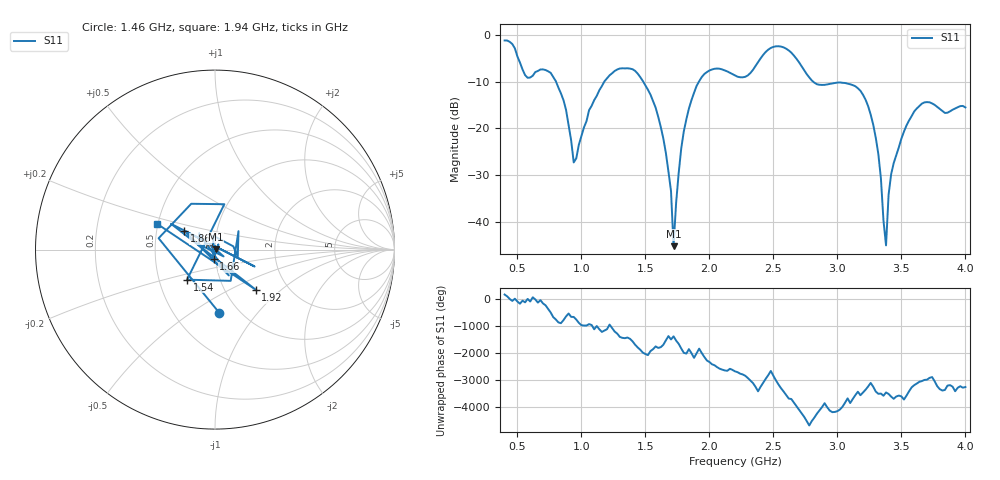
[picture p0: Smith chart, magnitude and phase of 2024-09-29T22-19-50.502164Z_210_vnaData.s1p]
!Created with skrf (http://scikit-rf.org).
# Hz S RI R 50.0
!freq ReS11 ImS11
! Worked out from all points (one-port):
!   181 points, 400 MHz to 4 GHz, reference 50 ohm
!   lowest |S11| = -45.2 dB at 1.72 GHz (marker M1), VSWR 1.01, Z = 50.4 + j0.414 ohm
!   |S11| at or under -10 dB: 801.4 MHz to 1.179 GHz (377.7 MHz wide, 38.1 % of centre); 1.482 GHz to 1.919 GHz (436 MHz wide, 25.6 % of centre); 2.81 GHz to end of sweep
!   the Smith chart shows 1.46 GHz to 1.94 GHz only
!   S11 on the Smith chart (normalised r, x): 1.46 GHz: 0.81, -0.65; 1.54 GHz: 0.69, -0.25; 1.66 GHz: 0.98, -0.11; 1.86 GHz: 0.70, +0.15; 1.92 GHz: 1.39, -0.69; 1.94 GHz: 0.49, +0.16
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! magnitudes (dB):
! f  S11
! 400 MHz  -1.2
! 760 MHz  -8.1
! 860 MHz  -14.0
! 940 MHz  -27.3
! 1.06 GHz  -16.1
! 1.3 GHz  -7.2
! 1.46 GHz  -9.0
! 1.54 GHz  -12.8
! 1.66 GHz  -25.3
! 1.7 GHz  -33.4
! 1.72 GHz  -45.2
! 1.76 GHz  -29.6
! 1.86 GHz  -14.0
! 1.92 GHz  -9.9
! 1.94 GHz  -9.0
! 2.2 GHz  -8.7
! 2.5 GHz  -2.6
! 2.66 GHz  -4.4
! 2.84 GHz  -10.6
! 3.1 GHz  -10.6
! 3.28 GHz  -19.2
! 3.32 GHz  -25.5
! 3.38 GHz  -45.0
! 3.4 GHz  -34.2
! 3.42 GHz  -29.8
! 3.56 GHz  -18.3
! 3.68 GHz  -14.4
! 4 GHz  -15.5
